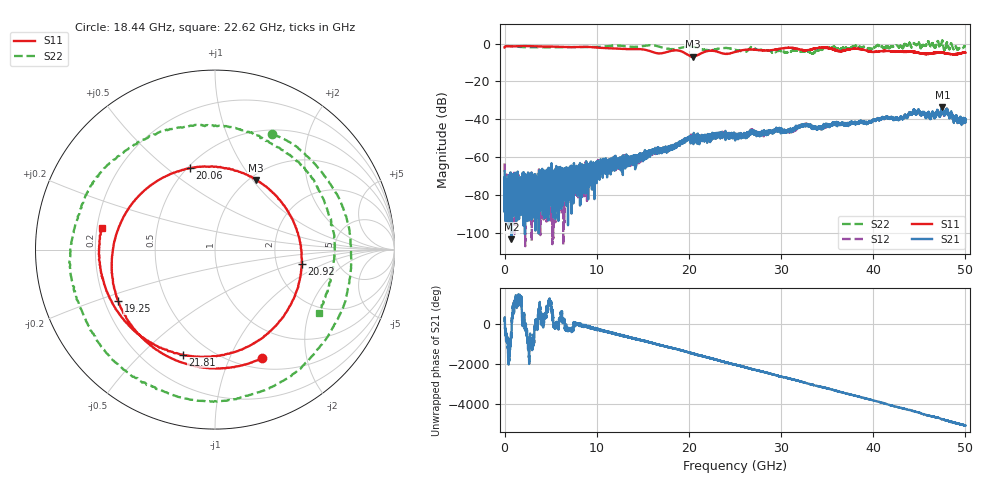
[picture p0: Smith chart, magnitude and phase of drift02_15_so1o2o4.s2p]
!Created with skrf (http://scikit-rf.org).
# Hz S RI R 50.0
!freq ReS11 ImS11 ReS21 ImS21 ReS12 ImS12 ReS22 ImS22
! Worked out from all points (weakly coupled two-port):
!   10001 points, 300 kHz to 50 GHz, reference 50 ohm
!   highest |S21| = -33.43 dB at 47.52 GHz (marker M1); lowest = -103.2 dB at 740.3 MHz (marker M2)
!   lowest |S11| = -6.9 dB at 20.4 GHz (marker M3), VSWR 2.64, Z = 53.3 + j51.9 ohm
!   |S11| at or under -10 dB: nowhere
!   |S22| runs from -5.3 to 1.6 dB; largest |S21 - S12| = 0.003
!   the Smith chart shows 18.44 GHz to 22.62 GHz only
!   S11 on the Smith chart (normalised r, x): 18.44 GHz: 0.62, -1.32; 19.25 GHz: 0.25, -0.23; 20.06 GHz: 0.51, +0.60; 20.92 GHz: 2.78, -0.59; 21.81 GHz: 0.36, -0.67; 22.62 GHz: 0.22, +0.09
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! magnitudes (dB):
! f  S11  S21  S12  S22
! 300 kHz  -2.1  -67.4  -63.2  -1.3
! 255.3 MHz  -1.4  -77.1  -74.6  -1.4
! 740.3 MHz  -1.5  -103.2  -72.1  -1.5
! 4.425 GHz  -1.6  -78.5  -76.5  -2.0
! 8.335 GHz  -1.7  -81.1  -69.3  -1.9
! 16.67 GHz  -5.2  -56.2  -56.0  -1.5
! 18.44 GHz  -3.6  -54.6  -54.5  -2.9
! 19.25 GHz  -4.3  -51.8  -51.9  -2.1
! 20.06 GHz  -6.5  -49.8  -49.4  -1.5
! 20.4 GHz  -6.9  -49.4  -49.6  -1.7
! 20.92 GHz  -6.2  -49.7  -50.5  -2.2
! 21.81 GHz  -4.3  -49.0  -49.9  -3.5
! 22.62 GHz  -3.9  -49.0  -49.2  -3.4
! 25 GHz  -4.5  -47.9  -49.2  -3.2
! 26.11 GHz  -3.3  -48.3  -47.9  -4.3
! 26.9 GHz  -3.2  -47.0  -45.9  -1.7
! 33.34 GHz  -3.0  -44.8  -43.6  -5.1
! 34.9 GHz  -2.2  -42.8  -43.4  -2.1
! 41.67 GHz  -4.0  -39.4  -39.2  -2.2
! 44.35 GHz  -4.4  -35.9  -35.6  -0.3
! 47.52 GHz  -4.9  -33.4  -34.0  1.4
! 50 GHz  -4.8  -41.2  -41.4  -1.4
